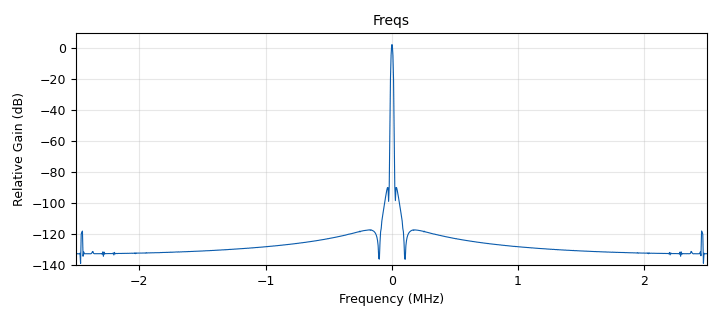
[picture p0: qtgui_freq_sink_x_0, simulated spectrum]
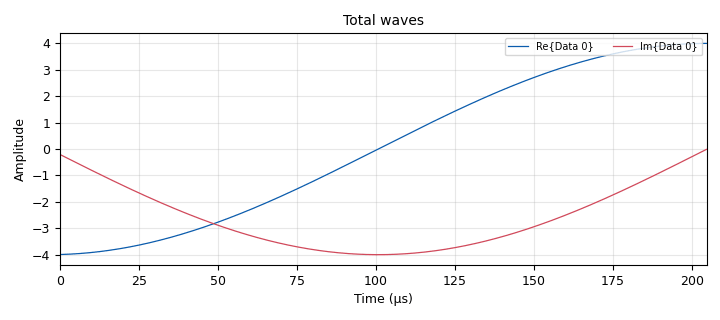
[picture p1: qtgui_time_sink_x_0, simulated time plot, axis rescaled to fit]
options:
  parameters:
    generate_options: qt_gui
    id: first_try_pa
    output_language: python
    title: Not titled yet
  states: {}

blocks:
- name: c_light_speed
  id: variable
  parameters:
    value: '299792458'
  states: {}
- name: d_x
  id: variable
  parameters:
    value: lambda_wave / 2
  states: {}
- name: freq_wave
  id: variable
  parameters:
    value: 2.4e3
  states: {}
- name: lambda_wave
  id: variable
  parameters:
    value: c_light_speed/freq_wave
  states: {}
- name: phase_diff
  id: variable
  parameters:
    value: '2*np.pi* d_x * np.sin(recv_theta) / lambda_wave '
  states: {}
- name: recv_theta
  id: variable_qtgui_range
  parameters:
    label: R Angle
    start: '-np.pi / 2'
    step: '0.01'
    stop: np.pi / 2
    value: '0'
  states: {}
- name: samp_rate
  id: variable
  parameters:
    value: 5e6
  states: {}
- name: time_delay
  id: variable
  parameters:
    value: d_x*np.sin(trans_theta)/c_light_speed
  states: {}
- name: trans_theta
  id: variable_qtgui_range
  parameters:
    label: T Angle
    start: '-np.pi / 2'
    step: '0.01'
    stop: np.pi / 2
    value: '0'
  states: {}
- name: analog_sig_source_x_0
  id: analog_sig_source_x
  parameters:
    amp: '1'
    freq: 2.4e3
    offset: '0'
    phase: '0'
    samp_rate: samp_rate
    type: complex
    waveform: analog.GR_COS_WAVE
  states: {}
- name: blocks_add_xx_0
  id: blocks_add_xx
  parameters:
    num_inputs: '4'
    type: complex
  states: {}
- name: blocks_delay_0
  id: blocks_delay
  parameters:
    delay: '0'
    type: complex
  states: {}
- name: blocks_delay_0_0
  id: blocks_delay
  parameters:
    delay: 1*int(time_delay*samp_rate)
    type: complex
  states: {}
- name: blocks_delay_0_0_0
  id: blocks_delay
  parameters:
    delay: 2*int(time_delay*samp_rate)
    type: complex
  states: {}
- name: blocks_delay_0_0_0_0
  id: blocks_delay
  parameters:
    delay: 3*int(time_delay*samp_rate)
    type: complex
  states: {}
- name: blocks_phase_shift_0
  id: blocks_phase_shift
  parameters:
    is_radians: 'True'
    shift: 3*phase_diff
  states: {}
- name: blocks_phase_shift_0_0
  id: blocks_phase_shift
  parameters:
    is_radians: 'True'
    shift: 2*phase_diff
  states: {}
- name: blocks_phase_shift_0_1
  id: blocks_phase_shift
  parameters:
    is_radians: 'True'
    shift: 1*phase_diff
  states: {}
- name: blocks_phase_shift_0_2
  id: blocks_phase_shift
  parameters:
    is_radians: 'True'
    shift: '0.0'
  states: {}
- name: import_0
  id: import
  parameters:
    imports: import numpy as np
  states: {}
- name: qtgui_freq_sink_x_0
  id: qtgui_freq_sink_x
  parameters:
    bw: samp_rate
    fc: '0'
    fftsize: '1024'
    name: '"Freqs"'
    type: complex
  states: {}
- name: qtgui_time_sink_x_0
  id: qtgui_time_sink_x
  parameters:
    name: '"Total waves"'
    size: '1024'
    srate: samp_rate
    type: complex
  states: {}
- name: qtgui_time_sink_x_0_0
  id: qtgui_time_sink_x
  parameters:
    name: '"First Wave"'
    size: '1024'
    srate: samp_rate
    type: complex
  states: {state: disabled}
- name: qtgui_time_sink_x_0_0_0
  id: qtgui_time_sink_x
  parameters:
    name: '"Second_wave"'
    size: '1024'
    srate: samp_rate
    type: complex
  states: {state: disabled}

connections:
- [analog_sig_source_x_0, '0', blocks_delay_0, '0']
- [analog_sig_source_x_0, '0', blocks_delay_0_0, '0']
- [analog_sig_source_x_0, '0', blocks_delay_0_0_0, '0']
- [analog_sig_source_x_0, '0', blocks_delay_0_0_0_0, '0']
- [blocks_add_xx_0, '0', qtgui_freq_sink_x_0, '0']
- [blocks_add_xx_0, '0', qtgui_time_sink_x_0, '0']
- [blocks_delay_0, '0', blocks_phase_shift_0_2, '0']
- [blocks_delay_0_0, '0', blocks_phase_shift_0_1, '0']
- [blocks_delay_0_0_0, '0', blocks_phase_shift_0_0, '0']
- [blocks_delay_0_0_0_0, '0', blocks_phase_shift_0, '0']
- [blocks_phase_shift_0, '0', blocks_add_xx_0, '3']
- [blocks_phase_shift_0_0, '0', blocks_add_xx_0, '2']
- [blocks_phase_shift_0_1, '0', blocks_add_xx_0, '1']
- [blocks_phase_shift_0_2, '0', blocks_add_xx_0, '0']

metadata:
  file_format: 1
  grc_version: 3.10.9.2
